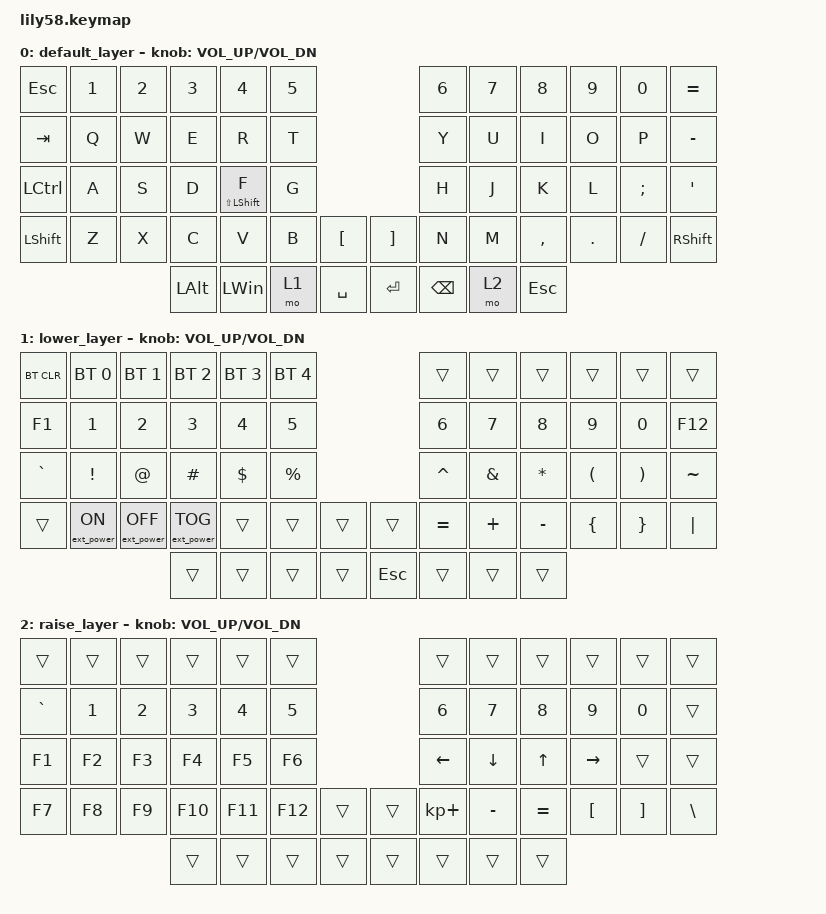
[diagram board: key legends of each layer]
/*
 * Copyright (c) 2020 The ZMK Contributors
 *
 * SPDX-License-Identifier: MIT
 */

#include <behaviors.dtsi>
#include <dt-bindings/zmk/bt.h>
#include <dt-bindings/zmk/ext_power.h>
#include <dt-bindings/zmk/keys.h>

/ {
    behaviors {
        new_behavior: new_behavior {
            compatible = "zmk,behavior-hold-tap";
            label = "NEW_BEHAVIOR";
            bindings = <&kp>, <&kp>;

            #binding-cells = <2>;
            flavor = "tap-preferred";
            tapping-term-ms = <(-1)>;
        };
    };

    keymap {
        compatible = "zmk,keymap";

        default_layer {
            // ------------------------------------------------------------------------------------------------------------
            // |  ESC  |  1  |  2  |  3   |  4   |  5   |                   |  6   |  7    |  8    |  9   |   0   |   `   |
            // |  TAB  |  Q  |  W  |  E   |  R   |  T   |                   |  Y   |  U    |  I    |  O   |   P   |   -   |
            // |  CTRL |  A  |  S  |  D   |  F   |  G   |                   |  H   |  J    |  K    |  L   |   ;   |   '   |
            // | SHIFT |  Z  |  X  |  C   |  V   |  B   |   "["  |  |  "]"  |  N   |  M    |  ,    |  .   |   /   | SHIFT |
            //                     | ALT  | GUI  | LOWER|  SPACE |  | ENTER | RAISE| BSPC  | GUI   |

            bindings = <
&kp ESC    &kp N1  &kp N2  &kp N3    &kp N4                          &kp N5                         &kp N6         &kp N7  &kp N8      &kp N9   &kp N0    &kp EQUAL
&kp TAB    &kp Q   &kp W   &kp E     &kp R                           &kp T                          &kp Y          &kp U   &kp I       &kp O    &kp P     &kp MINUS
&kp LCTRL  &kp A   &kp S   &kp D     &new_behavior LS(LEFT_SHIFT) F  &kp G                          &kp H          &kp J   &kp K       &kp L    &kp SEMI  &kp SQT
&kp LSHFT  &kp Z   &kp X   &kp C     &kp V                           &kp B   &kp LBKT     &kp RBKT  &kp N          &kp M   &kp COMMA   &kp DOT  &kp FSLH  &kp RSHFT
                           &kp LALT  &kp LEFT_WIN                    &mo 1   &kp SPACE    &kp RET   &kp BACKSPACE  &mo 2   &kp ESCAPE
            >;

            sensor-bindings = <&inc_dec_kp C_VOL_UP C_VOL_DN>;
        };

        lower_layer {
            // ------------------------------------------------------------------------------------------------------------
            // | BTCLR | BT1 | BT2 |  BT3 |  BT4 |  BT5 |                   |      |       |       |      |       |       |
            // |  F1   |  F2 |  F3 |  F4  |  F5  |  F6  |                   |  F7  |  F8   |  F9   |  F10 |  F11  |  F12  |
            // |   `   |  !  |  @  |  #   |  $   |  %   |                   |  ^   |  &    |  *    |  (   |   )   |   ~   |
            // |       |     |     |      |      |      |        |  |       |      |  _    |  +    |  {   |   }   |  "|"  |
            //                     |      |      |      |        |  |       |      |       |       |

            bindings = <
&bt BT_CLR  &bt BT_SEL 0      &bt BT_SEL 1       &bt BT_SEL 2       &bt BT_SEL 3  &bt BT_SEL 4                        &trans        &trans    &trans     &trans    &trans    &trans
&kp F1      &kp NUMBER_1      &kp NUMBER_2       &kp NUMBER_3       &kp NUMBER_4  &kp N5                              &kp NUMBER_6  &kp N7    &kp N8     &kp N9    &kp N0    &kp F12
&kp GRAVE   &kp EXCL          &kp AT             &kp HASH           &kp DOLLAR    &kp PRCNT                           &kp CARET     &kp AMPS  &kp ASTRK  &kp LPAR  &kp RPAR  &kp TILDE
&trans      &ext_power EP_ON  &ext_power EP_OFF  &ext_power EP_TOG  &trans        &trans        &trans    &trans      &kp EQUAL     &kp PLUS  &kp MINUS  &kp LBRC  &kp RBRC  &kp PIPE
                                                 &trans             &trans        &trans        &trans    &kp ESCAPE  &trans        &trans    &trans
            >;

            sensor-bindings = <&inc_dec_kp C_VOL_UP C_VOL_DN>;
        };

        raise_layer {
            // ------------------------------------------------------------------------------------------------------------
            // |       |     |     |      |      |      |                   |      |       |       |      |       |       |
            // |   `   |  1  |  2  |  3   |  4   |  5   |                   |  6   |   7   |   8   |  9   |   0   |       |
            // |   F1  |  F2 |  F3 |  F4  |  F5  |  F6  |                   |      |   <-  |   v   |  ^   |  ->   |       |
            // |   F7  |  F8 |  F9 |  F10 |  F11 |  F12 |        |  |       |  +   |   -   |   =   |  [   |   ]   |   \   |
            //                     |      |      |      |        |  |       |      |       |       |

            bindings = <
&trans     &trans  &trans  &trans   &trans   &trans                     &trans          &trans     &trans        &trans     &trans    &trans
&kp GRAVE  &kp N1  &kp N2  &kp N3   &kp N4   &kp N5                     &kp N6          &kp N7     &kp N8        &kp N9     &kp N0    &trans
&kp F1     &kp F2  &kp F3  &kp F4   &kp F5   &kp F6                     &kp LEFT_ARROW  &kp DOWN   &kp UP_ARROW  &kp RIGHT  &trans    &trans
&kp F7     &kp F8  &kp F9  &kp F10  &kp F11  &kp F12  &trans    &trans  &kp KP_PLUS     &kp MINUS  &kp EQUAL     &kp LBKT   &kp RBKT  &kp BSLH
                           &trans   &trans   &trans   &trans    &trans  &trans          &trans     &trans
            >;

            sensor-bindings = <&inc_dec_kp C_VOL_UP C_VOL_DN>;
        };
    };
};
